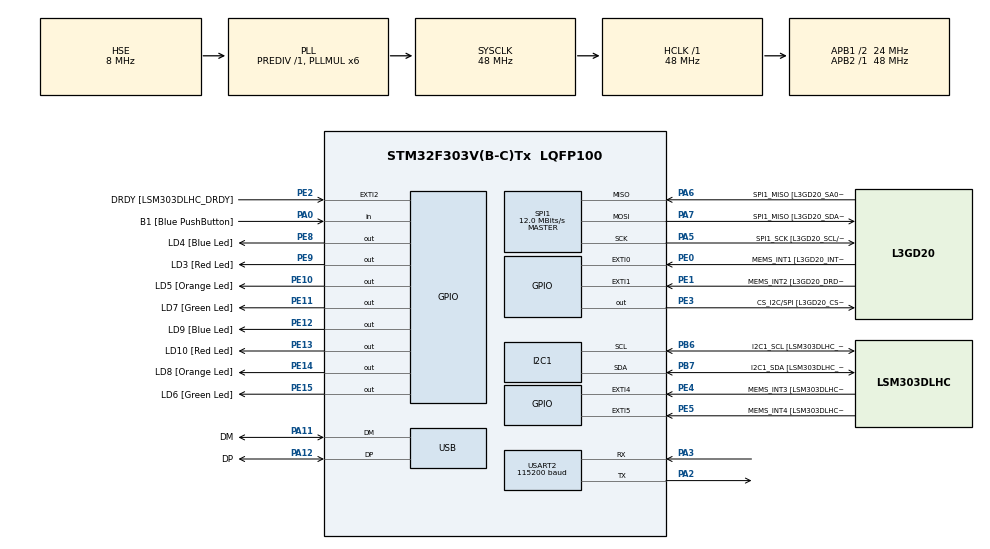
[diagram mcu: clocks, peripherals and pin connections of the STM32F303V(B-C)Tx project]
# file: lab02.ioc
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I2C1.Timing=0x00201D2B
I2C1.Timing-I2C=0x2000090E
Mcu.Family=STM32F3
Mcu.Name=STM32F303V(B-C)Tx
Mcu.Package=LQFP100
NVIC.PriorityGroup=NVIC_PRIORITYGROUP_0
PA0.GPIO_Label=B1 [Blue PushButton]
PA0.Signal=GPIO_Input
PA11.GPIO_Label=DM
PA11.Mode=Device
PA11.Signal=USB_DM
PA12.GPIO_Label=DP
PA12.Mode=Device
PA12.Signal=USB_DP
PA13.GPIO_Label=SWDIO
PA13.Mode=Serial_Wire
PA13.Signal=SYS_JTMS-SWDIO
PA14.GPIO_Label=SWCLK
PA14.Mode=Serial_Wire
PA14.Signal=SYS_JTCK-SWCLK
PA2.Mode=Asynchronous
PA2.Signal=USART2_TX
PA3.Mode=Asynchronous
PA3.Signal=USART2_RX
PA5.GPIO_Label=SPI1_SCK [L3GD20_SCL/SPC]
PA5.Mode=Full_Duplex_Master
PA5.Signal=SPI1_SCK
PA6.GPIO_Label=SPI1_MISO [L3GD20_SA0/SDO]
PA6.Mode=Full_Duplex_Master
PA6.Signal=SPI1_MISO
PA7.GPIO_Label=SPI1_MISO [L3GD20_SDA/SDI/SDO]
PA7.Mode=Full_Duplex_Master
PA7.Signal=SPI1_MOSI
PB3.GPIO_Label=SWO
PB3.Signal=SYS_JTDO-TRACESWO
PB6.GPIO_Label=I2C1_SCL [LSM303DLHC_SCL]
PB6.GPIO_Pu=GPIO_PULLUP
PB6.Mode=I2C
PB6.Signal=I2C1_SCL
PB7.GPIO_Label=I2C1_SDA [LSM303DLHC_SDA]
PB7.GPIO_Pu=GPIO_PULLUP
PB7.Mode=I2C
PB7.Signal=I2C1_SDA
PC14-OSC32_IN.GPIO_Label=OSC32_IN
PC14-OSC32_IN.Signal=RCC_OSC32_IN
PC15-OSC32_OUT.GPIO_Label=OSC32_OUT
PC15-OSC32_OUT.Signal=RCC_OSC32_OUT
PE0.GPIO_Label=MEMS_INT1 [L3GD20_INT1]
PE0.GPIO_ModeDefaultEXTI=GPIO_MODE_EVT_RISING
PE0.Signal=GPXTI0
PE1.GPIO_Label=MEMS_INT2 [L3GD20_DRDY/INT2]
PE1.GPIO_ModeDefaultEXTI=GPIO_MODE_EVT_RISING
PE1.Signal=GPXTI1
PE10.GPIO_Label=LD5 [Orange Led]
PE10.Signal=GPIO_Output
PE11.GPIO_Label=LD7 [Green Led]
PE11.Signal=GPIO_Output
PE12.GPIO_Label=LD9 [Blue Led]
PE12.Signal=GPIO_Output
PE13.GPIO_Label=LD10 [Red Led]
PE13.Signal=GPIO_Output
PE14.GPIO_Label=LD8 [Orange Led]
PE14.Signal=GPIO_Output
PE15.GPIO_Label=LD6 [Green Led]
PE15.Signal=GPIO_Output
PE2.GPIO_Label=DRDY [LSM303DLHC_DRDY]
PE2.GPIO_ModeDefaultEXTI=GPIO_MODE_EVT_RISING
PE2.Signal=GPXTI2
PE3.GPIO_Label=CS_I2C/SPI [L3GD20_CS_I2C/SPI]
PE3.Signal=GPIO_Output
PE4.GPIO_Label=MEMS_INT3 [LSM303DLHC_INT1]
PE4.GPIO_ModeDefaultEXTI=GPIO_MODE_EVT_RISING
PE4.Signal=GPXTI4
PE5.GPIO_Label=MEMS_INT4 [LSM303DLHC_INT2]
PE5.GPIO_ModeDefaultEXTI=GPIO_MODE_EVT_RISING
PE5.Signal=GPXTI5
PE8.GPIO_Label=LD4 [Blue Led]
PE8.Signal=GPIO_Output
PE9.GPIO_Label=LD3 [Red Led]
PE9.Signal=GPIO_Output
PF0-OSC_IN.GPIO_Label=OSC_IN
PF0-OSC_IN.Mode=HSE-External-Clock-Source
PF0-OSC_IN.Signal=RCC_OSC_IN
PF1-OSC_OUT.GPIO_Label=OSC_OUT
PF1-OSC_OUT.Signal=RCC_OSC_OUT
ProjectManager.HeapSize=0x200
ProjectManager.StackSize=0x400
ProjectManager.TargetToolchain=CMake
RCC.AHBFreq_Value=48000000
RCC.APB1CLKDivider=RCC_HCLK_DIV2
RCC.APB1Freq_Value=24000000
RCC.APB1TimFreq_Value=48000000
RCC.APB2Freq_Value=48000000
RCC.APB2TimFreq_Value=48000000
RCC.CortexFreq_Value=48000000
RCC.HCLKFreq_Value=48000000
RCC.HSE_VALUE=8000000
RCC.HSI_VALUE=8000000
RCC.LSE_VALUE=32768
RCC.PLLMUL=RCC_PLL_MUL6
RCC.SYSCLKFreq_VALUE=48000000
RCC.SYSCLKSourceVirtual=RCC_SYSCLKSOURCE_PLLCLK
RCC.USBFreq_Value=48000000
SPI1.BaudRatePrescaler=SPI_BAUDRATEPRESCALER_4
SPI1.BaudRatePrescaler-Full_Duplex_Master=SPI_BAUDRATEPRESCALER_2
SPI1.CalculateBaudRate=12.0 MBits/s
SPI1.CalculateBaudRate-Full_Duplex_Master=24.0 MBits/s
SPI1.Direction=SPI_DIRECTION_2LINES
SPI1.Mode=SPI_MODE_MASTER
SPI1.Mode-Full_Duplex_Master=SPI_MODE_MASTER
SPI1.VirtualType=VM_MASTER
USART2.BaudRate=115200
USART2.VirtualMode-Asynchronous=VM_ASYNC
board=STM32F3DISCOVERY

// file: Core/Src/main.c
/* USER CODE BEGIN Header */
/**
  ******************************************************************************
  * @file           : main.c
  * @brief          : Main program body
  ******************************************************************************
  * @attention
  *
  * Copyright (c) 2026 STMicroelectronics.
  * All rights reserved.
  *
  * This software is licensed under terms that can be found in the LICENSE file
  * in the root directory of this software component.
  * If no LICENSE file comes with this software, it is provided AS-IS.
  *
  ******************************************************************************
  */
/* USER CODE END Header */
#include "main.h"
#include "stm32f3xx_hal.h"
#include "stm32f3xx_hal_uart.h"
#include <stdarg.h>
#include <stdio.h>

I2C_HandleTypeDef hi2c1;

SPI_HandleTypeDef hspi1;

UART_HandleTypeDef huart2;

PCD_HandleTypeDef hpcd_USB_FS;

void SystemClock_Config(void);
static void MX_GPIO_Init(void);
static void MX_I2C1_Init(void);
static void MX_SPI1_Init(void);
static void MX_USART2_UART_Init(void);
static void MX_USB_PCD_Init(void);

/* USER CODE BEGIN 0 */
void myPrintf (const char *fmt , ...){
      char buffer[256];
      va_list args;
      va_start (args, fmt);
      int len = vsnprintf (buffer, sizeof(buffer), fmt, args);
      va_end (args);
      HAL_UART_Transmit(&huart2, (uint8_t*)buffer, len, HAL_MAX_DELAY);
  }
/* USER CODE END 0 */

int main(void)
{

  /* MCU Configuration--------------------------------------------------------*/

  /* Reset of all peripherals, Initializes the Flash interface and the Systick. */
  HAL_Init();

  /* Configure the system clock */
  SystemClock_Config();

  /* Initialize all configured peripherals */
  MX_GPIO_Init();
  MX_I2C1_Init();
  MX_SPI1_Init();
  MX_USART2_UART_Init();
  MX_USB_PCD_Init();
  /* USER CODE BEGIN 2 */
  // task4
  //  int A[2][2] = {
  //       {1, 2},
  //       {3, 4}
  //   };

  //   int B[2][2] = {
  //       {5, 6},
  //       {7, 8}
  //   };

  //   int C[2][2] = {0};

  //   for (int i = 0; i < 2; i++)
  //   {
  //       for (int j = 0; j < 2; j++)
  //       {
  //           C[i][j] = 0;
  //           for (int k = 0; k < 2; k++)
  //           {
  //               C[i][j] += A[i][k] * B[k][j];
  //           }
  //       }
  //   }

  //task 5
   int num;

  /* USER CODE END 2 */

  /* Infinite loop */
  /* USER CODE BEGIN WHILE */
  while (1)
  {
    /* USER CODE BEGIN 3 */

    // task 04
    // myPrintf("Matrix A:\r\n");
    // for (int i = 0; i < 2; i++)
    // {
    //     for (int j = 0; j < 2; j++)
    //     {
    //         myPrintf("%d ", A[i][j]);
    //     }
    //     myPrintf("\r\n");
    // }

    // myPrintf("\r\nMatrix B:\r\n");
    // for (int i = 0; i < 2; i++)
    // {
    //     for (int j = 0; j < 2; j++)
    //     {
    //         myPrintf("%d ", B[i][j]);
    //     }
    //     myPrintf("\r\n");
    // }

    // myPrintf("\r\nMatrix C (A × B):\r\n");
    // for (int i = 0; i < 2; i++)
    // {
    //     for (int j = 0; j < 2; j++)
    //     {
    //         myPrintf("%d ", C[i][j]);
    //     }
    //     myPrintf("\r\n");
    // }

    // task 5
    myPrintf("3-digit Armstrong numbers are:\r\n");
    for (num = 100; num <= 999; num++) {
        int hundreds = num / 100;         // X
        int tens = (num / 10) % 10;       // Y
        int units = num % 10;             // Z

        // (b) Compute sum of cubes
        int sum_cubes = hundreds*hundreds*hundreds
                      + tens*tens*tens
                      + units*units*units;

        // Compare to original number
        if (sum_cubes == num) {
            // (c) Print Armstrong number
            myPrintf("%d\r\n", num);
        }
      }

    /* USER CODE END WHILE */
  }
  /* USER CODE END 3 */
}

void SystemClock_Config(void)
{
  RCC_OscInitTypeDef RCC_OscInitStruct = {0};
  RCC_ClkInitTypeDef RCC_ClkInitStruct = {0};
  RCC_PeriphCLKInitTypeDef PeriphClkInit = {0};

  /** Initializes the RCC Oscillators according to the specified parameters
  * in the RCC_OscInitTypeDef structure.
  */
  RCC_OscInitStruct.OscillatorType = RCC_OSCILLATORTYPE_HSI|RCC_OSCILLATORTYPE_HSE;
  RCC_OscInitStruct.HSEState = RCC_HSE_BYPASS;
  RCC_OscInitStruct.HSEPredivValue = RCC_HSE_PREDIV_DIV1;
  RCC_OscInitStruct.HSIState = RCC_HSI_ON;
  RCC_OscInitStruct.HSICalibrationValue = RCC_HSICALIBRATION_DEFAULT;
  RCC_OscInitStruct.PLL.PLLState = RCC_PLL_ON;
  RCC_OscInitStruct.PLL.PLLSource = RCC_PLLSOURCE_HSE;
  RCC_OscInitStruct.PLL.PLLMUL = RCC_PLL_MUL6;
  if (HAL_RCC_OscConfig(&RCC_OscInitStruct) != HAL_OK)
  {
    Error_Handler();
  }

  /** Initializes the CPU, AHB and APB buses clocks
  */
  RCC_ClkInitStruct.ClockType = RCC_CLOCKTYPE_HCLK|RCC_CLOCKTYPE_SYSCLK
                              |RCC_CLOCKTYPE_PCLK1|RCC_CLOCKTYPE_PCLK2;
  RCC_ClkInitStruct.SYSCLKSource = RCC_SYSCLKSOURCE_PLLCLK;
  RCC_ClkInitStruct.AHBCLKDivider = RCC_SYSCLK_DIV1;
  RCC_ClkInitStruct.APB1CLKDivider = RCC_HCLK_DIV2;
  RCC_ClkInitStruct.APB2CLKDivider = RCC_HCLK_DIV1;

  if (HAL_RCC_ClockConfig(&RCC_ClkInitStruct, FLASH_LATENCY_1) != HAL_OK)
  {
    Error_Handler();
  }
  PeriphClkInit.PeriphClockSelection = RCC_PERIPHCLK_USB|RCC_PERIPHCLK_USART2
                              |RCC_PERIPHCLK_I2C1;
  PeriphClkInit.Usart2ClockSelection = RCC_USART2CLKSOURCE_PCLK1;
  PeriphClkInit.I2c1ClockSelection = RCC_I2C1CLKSOURCE_HSI;
  PeriphClkInit.USBClockSelection = RCC_USBCLKSOURCE_PLL;
  if (HAL_RCCEx_PeriphCLKConfig(&PeriphClkInit) != HAL_OK)
  {
    Error_Handler();
  }
}

static void MX_I2C1_Init(void)
{

  hi2c1.Instance = I2C1;
  hi2c1.Init.Timing = 0x00201D2B;
  hi2c1.Init.OwnAddress1 = 0;
  hi2c1.Init.AddressingMode = I2C_ADDRESSINGMODE_7BIT;
  hi2c1.Init.DualAddressMode = I2C_DUALADDRESS_DISABLE;
  hi2c1.Init.OwnAddress2 = 0;
  hi2c1.Init.OwnAddress2Masks = I2C_OA2_NOMASK;
  hi2c1.Init.GeneralCallMode = I2C_GENERALCALL_DISABLE;
  hi2c1.Init.NoStretchMode = I2C_NOSTRETCH_DISABLE;
  if (HAL_I2C_Init(&hi2c1) != HAL_OK)
  {
    Error_Handler();
  }

  /** Configure Analogue filter
  */
  if (HAL_I2CEx_ConfigAnalogFilter(&hi2c1, I2C_ANALOGFILTER_ENABLE) != HAL_OK)
  {
    Error_Handler();
  }

  /** Configure Digital filter
  */
  if (HAL_I2CEx_ConfigDigitalFilter(&hi2c1, 0) != HAL_OK)
  {
    Error_Handler();
  }

}

static void MX_SPI1_Init(void)
{

  /* SPI1 parameter configuration*/
  hspi1.Instance = SPI1;
  hspi1.Init.Mode = SPI_MODE_MASTER;
  hspi1.Init.Direction = SPI_DIRECTION_2LINES;
  hspi1.Init.DataSize = SPI_DATASIZE_4BIT;
  hspi1.Init.CLKPolarity = SPI_POLARITY_LOW;
  hspi1.Init.CLKPhase = SPI_PHASE_1EDGE;
  hspi1.Init.NSS = SPI_NSS_SOFT;
  hspi1.Init.BaudRatePrescaler = SPI_BAUDRATEPRESCALER_4;
  hspi1.Init.FirstBit = SPI_FIRSTBIT_MSB;
  hspi1.Init.TIMode = SPI_TIMODE_DISABLE;
  hspi1.Init.CRCCalculation = SPI_CRCCALCULATION_DISABLE;
  hspi1.Init.CRCPolynomial = 7;
  hspi1.Init.CRCLength = SPI_CRC_LENGTH_DATASIZE;
  hspi1.Init.NSSPMode = SPI_NSS_PULSE_ENABLE;
  if (HAL_SPI_Init(&hspi1) != HAL_OK)
  {
    Error_Handler();
  }

}

static void MX_USART2_UART_Init(void)
{

  huart2.Instance = USART2;
  huart2.Init.BaudRate = 115200;
  huart2.Init.WordLength = UART_WORDLENGTH_8B;
  huart2.Init.StopBits = UART_STOPBITS_1;
  huart2.Init.Parity = UART_PARITY_NONE;
  huart2.Init.Mode = UART_MODE_TX_RX;
  huart2.Init.HwFlowCtl = UART_HWCONTROL_NONE;
  huart2.Init.OverSampling = UART_OVERSAMPLING_16;
  huart2.Init.OneBitSampling = UART_ONE_BIT_SAMPLE_DISABLE;
  huart2.AdvancedInit.AdvFeatureInit = UART_ADVFEATURE_NO_INIT;
  if (HAL_UART_Init(&huart2) != HAL_OK)
  {
    Error_Handler();
  }

}

static void MX_USB_PCD_Init(void)
{

  hpcd_USB_FS.Instance = USB;
  hpcd_USB_FS.Init.dev_endpoints = 8;
  hpcd_USB_FS.Init.speed = PCD_SPEED_FULL;
  hpcd_USB_FS.Init.phy_itface = PCD_PHY_EMBEDDED;
  hpcd_USB_FS.Init.low_power_enable = DISABLE;
  hpcd_USB_FS.Init.battery_charging_enable = DISABLE;
  if (HAL_PCD_Init(&hpcd_USB_FS) != HAL_OK)
  {
    Error_Handler();
  }

}

static void MX_GPIO_Init(void)
{
  GPIO_InitTypeDef GPIO_InitStruct = {0};

  /* GPIO Ports Clock Enable */
  __HAL_RCC_GPIOE_CLK_ENABLE();
  __HAL_RCC_GPIOC_CLK_ENABLE();
  __HAL_RCC_GPIOF_CLK_ENABLE();
  __HAL_RCC_GPIOA_CLK_ENABLE();
  __HAL_RCC_GPIOB_CLK_ENABLE();

  /*Configure GPIO pin Output Level */
  HAL_GPIO_WritePin(GPIOE, CS_I2C_SPI_Pin|LD4_Pin|LD3_Pin|LD5_Pin
                          |LD7_Pin|LD9_Pin|LD10_Pin|LD8_Pin
                          |LD6_Pin, GPIO_PIN_RESET);

  /*Configure GPIO pins : DRDY_Pin MEMS_INT3_Pin MEMS_INT4_Pin MEMS_INT1_Pin
                           MEMS_INT2_Pin */
  GPIO_InitStruct.Pin = DRDY_Pin|MEMS_INT3_Pin|MEMS_INT4_Pin|MEMS_INT1_Pin
                          |MEMS_INT2_Pin;
  GPIO_InitStruct.Mode = GPIO_MODE_EVT_RISING;
  GPIO_InitStruct.Pull = GPIO_NOPULL;
  HAL_GPIO_Init(GPIOE, &GPIO_InitStruct);

  /*Configure GPIO pins : CS_I2C_SPI_Pin LD4_Pin LD3_Pin LD5_Pin
                           LD7_Pin LD9_Pin LD10_Pin LD8_Pin
                           LD6_Pin */
  GPIO_InitStruct.Pin = CS_I2C_SPI_Pin|LD4_Pin|LD3_Pin|LD5_Pin
                          |LD7_Pin|LD9_Pin|LD10_Pin|LD8_Pin
                          |LD6_Pin;
  GPIO_InitStruct.Mode = GPIO_MODE_OUTPUT_PP;
  GPIO_InitStruct.Pull = GPIO_NOPULL;
  GPIO_InitStruct.Speed = GPIO_SPEED_FREQ_LOW;
  HAL_GPIO_Init(GPIOE, &GPIO_InitStruct);

  /*Configure GPIO pin : B1_Pin */
  GPIO_InitStruct.Pin = B1_Pin;
  GPIO_InitStruct.Mode = GPIO_MODE_INPUT;
  GPIO_InitStruct.Pull = GPIO_NOPULL;
  HAL_GPIO_Init(B1_GPIO_Port, &GPIO_InitStruct);

}

void Error_Handler(void)
{
  __disable_irq();
  while (1)
  {
  }
}
